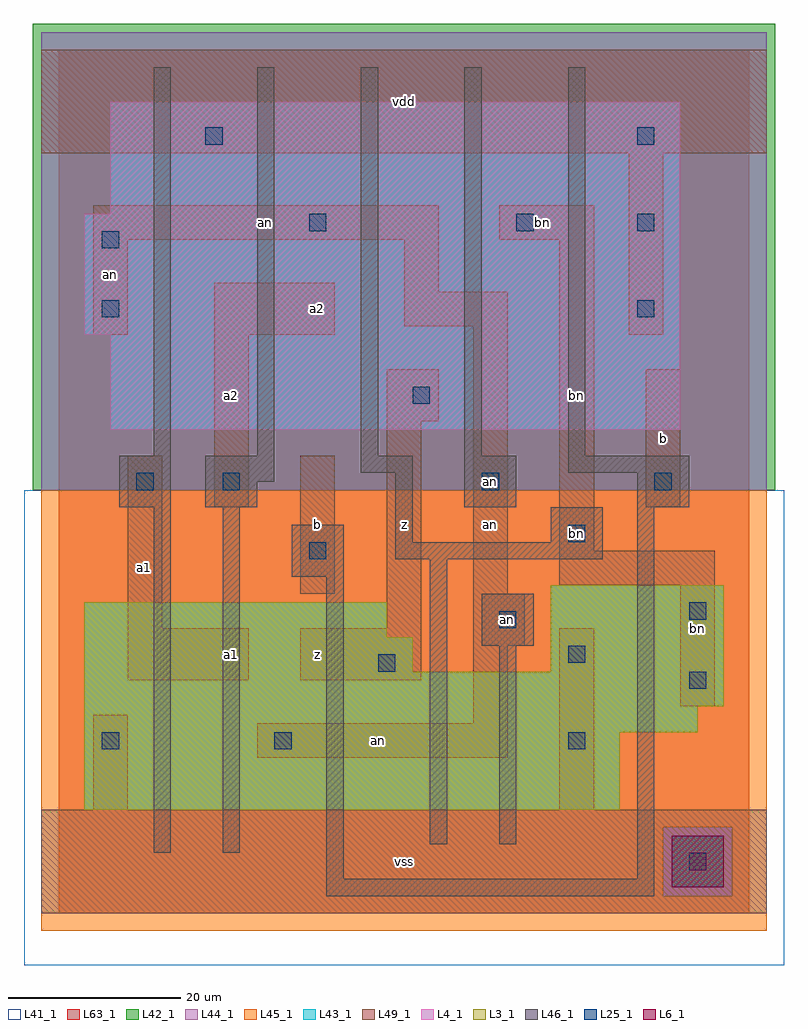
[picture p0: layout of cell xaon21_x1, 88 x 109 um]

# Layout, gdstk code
import gdstk
lib = gdstk.Library(unit=1e-6, precision=1e-09)
def R(c, l, rs):  # rectangles x0, y0, x1, y1
    for r in rs: c.add(gdstk.rectangle(r[:2], r[2:], *l))
def A(c, l, x, y, w, h, nx, ny, dx, dy):  # array of equal rectangles
    R(c, l, [(x+i*dx, y+j*dy, x+i*dx+w, y+j*dy+h) for i in range(nx) for j in range(ny)])
L3_1 = (3, 1)
L4_1 = (4, 1)
L6_1 = (6, 1)
L25_1 = (25, 1)
L41_1 = (41, 1)
L42_1 = (42, 1)
L43_1 = (43, 1)
L44_1 = (44, 1)
L45_1 = (45, 1)
L46_1 = (46, 1)
L49_1 = (49, 1)
L63_1 = (63, 1)

xaon21_x1 = lib.new_cell('xaon21_x1')
R(xaon21_x1, L3_1, [(3,12,65,21), (3,21,74,24), (3,24,77,28), (3,28,41,32), (57,28,77,38), (3,32,38,36)])
R(xaon21_x1, L4_1, [(6,56,72,67), (3,67,72,81), (6,81,72,94)])
R(xaon21_x1, L6_1, [(71,3,77,9)])
A(xaon21_x1, L25_1, 67, 69, 2, 2, 1, 3, 0, 10)
R(xaon21_x1, L25_1, [(73,5,75,7), (5,19,7,21), (25,19,27,21), (59,19,61,21), (73,26,75,28), (37,28,39,30), (59,29,61,31), (51,33,53,35), (73,34,75,36), (29,41,31,43), (59,43,61,45), (9,49,11,51), (19,49,21,51), (49,49,51,51), (69,49,71,51), (41,59,43,61), (5,69,7,71), (5,77,7,79), (29,79,31,81), (53,79,55,81), (17,89,19,91)])
R(xaon21_x1, L41_1, [(-4,-6,84,49), (-3,-3,83,49)])
R(xaon21_x1, L42_1, [(-3,49,83,103)])
R(xaon21_x1, L43_1, [(71,3,77,9), (3,12,65,21), (3,21,74,24), (3,24,77,28), (3,28,41,32), (57,28,77,38), (3,32,38,36), (6,56,72,67), (3,67,72,81), (6,81,72,94)])
R(xaon21_x1, L44_1, [(70,2,78,10), (-2,49,82,102)])
R(xaon21_x1, L45_1, [(-2,-2,82,2), (-2,2,70,10), (78,2,82,10), (-2,10,82,49)])
A(xaon21_x1, L46_1, 11, 53, 2, 45, 5, 1, 12, 0)
R(xaon21_x1, L46_1, [(31,2,69,4), (31,4,33,39), (67,4,69,47), (11,7,13,47), (19,7,21,47), (43,8,45,41), (51,8,53,31), (49,31,55,37), (27,39,33,45), (39,41,63,43), (39,43,41,51), (57,43,63,47), (7,47,13,53), (17,47,23,50), (47,47,53,53), (67,47,73,51), (17,50,25,53), (35,51,41,53), (59,51,73,53)])
R(xaon21_x1, L49_1, [(-2,0,82,12), (4,12,8,23), (58,12,62,33), (23,18,52,22), (48,22,52,31), (72,24,76,38), (8,27,22,33), (28,27,42,33), (48,31,54,37), (8,33,12,53), (38,33,42,57), (28,37,32,53), (48,37,52,68), (58,38,76,42), (58,42,62,78), (18,47,22,67), (68,47,72,63), (38,57,44,63), (4,67,8,78), (18,67,32,73), (66,67,70,88), (40,68,52,72), (40,72,44,78), (4,78,44,82), (51,78,62,82), (-2,88,82,100)])
R(xaon21_x1, L63_1, [(0,0,80,100)])
xaon21_x1.add(gdstk.Label('an', (52,34), layer=49, texttype=1))
xaon21_x1.add(gdstk.Label('an', (50,50), layer=49, texttype=1))
xaon21_x1.add(gdstk.Label('bn', (60,44), layer=49, texttype=1))
xaon21_x1.add(gdstk.Label('a1', (10,40), layer=49, texttype=1))
xaon21_x1.add(gdstk.Label('a1', (10,40), layer=49, texttype=1))
xaon21_x1.add(gdstk.Label('an', (6,74), layer=49, texttype=1))
xaon21_x1.add(gdstk.Label('a1', (20,30), layer=49, texttype=1))
xaon21_x1.add(gdstk.Label('a1', (20,30), layer=49, texttype=1))
xaon21_x1.add(gdstk.Label('a2', (20,60), layer=49, texttype=1))
xaon21_x1.add(gdstk.Label('a2', (20,60), layer=49, texttype=1))
xaon21_x1.add(gdstk.Label('vss', (40,6), layer=49, texttype=1))
xaon21_x1.add(gdstk.Label('vss', (40,6), layer=49, texttype=1))
xaon21_x1.add(gdstk.Label('z', (30,30), layer=49, texttype=1))
xaon21_x1.add(gdstk.Label('z', (30,30), layer=49, texttype=1))
xaon21_x1.add(gdstk.Label('b', (30,45), layer=49, texttype=1))
xaon21_x1.add(gdstk.Label('b', (30,45), layer=49, texttype=1))
xaon21_x1.add(gdstk.Label('z', (40,45), layer=49, texttype=1))
xaon21_x1.add(gdstk.Label('z', (40,45), layer=49, texttype=1))
xaon21_x1.add(gdstk.Label('a2', (30,70), layer=49, texttype=1))
xaon21_x1.add(gdstk.Label('a2', (30,70), layer=49, texttype=1))
xaon21_x1.add(gdstk.Label('an', (24,80), layer=49, texttype=1))
xaon21_x1.add(gdstk.Label('vdd', (40,94), layer=49, texttype=1))
xaon21_x1.add(gdstk.Label('vdd', (40,94), layer=49, texttype=1))
xaon21_x1.add(gdstk.Label('an', (37,20), layer=49, texttype=1))
xaon21_x1.add(gdstk.Label('an', (50,45), layer=49, texttype=1))
xaon21_x1.add(gdstk.Label('bn', (56,80), layer=49, texttype=1))
xaon21_x1.add(gdstk.Label('bn', (60,60), layer=49, texttype=1))
xaon21_x1.add(gdstk.Label('bn', (74,33), layer=49, texttype=1))
xaon21_x1.add(gdstk.Label('b', (70,55), layer=49, texttype=1))
xaon21_x1.add(gdstk.Label('b', (70,55), layer=49, texttype=1))

lib.write_gds('xaon21_x1.gds')
